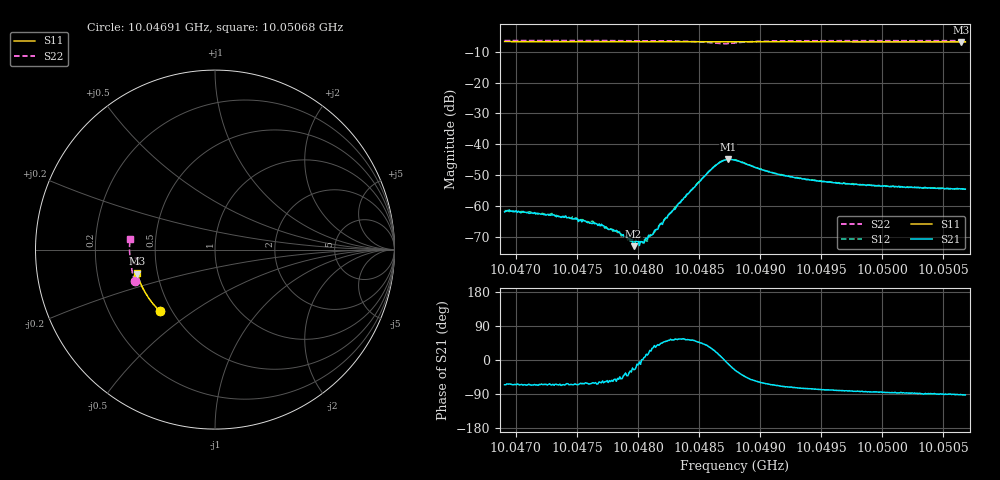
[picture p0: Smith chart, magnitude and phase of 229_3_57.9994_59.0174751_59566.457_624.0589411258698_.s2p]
#  HZ  S  RI  R  50.00
! Rohde & Schwarz Vector Network Analyzer
! Rohde-Schwarz,ZNB20-2Port,1311601062101988,3.16
! Created: UTC 3/21/2024, 1:00:35 AM
! freq[Hz]  re:S11  im:S11  re:S21  im:S21  re:S12  im:S12  re:S22  im:S22
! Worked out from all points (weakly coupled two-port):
!   401 points, 10.04691 GHz to 10.05068 GHz, reference 50 ohm
!   highest |S21| = -44.86 dB at 10.04874 GHz (marker M1); lowest = -72.9 dB at 10.04796 GHz (marker M2)
!   lowest |S11| = -6.9 dB at 10.05064 GHz (marker M3), VSWR 2.66, Z = 19.2 - j6.5 ohm
!   |S11| at or under -10 dB: nowhere
!   |S22| runs from -7.4 to -6.4 dB; largest |S21 - S12| = 0.00039
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1.0046908e10  -0.3075 -0.3429  0.000338 -0.000736  0.000412 -0.000751  -0.446 -0.176
1.0046955e10  -0.3098 -0.3407  0.00037 -0.000749  0.000406 -0.000726  -0.4471 -0.173
1.0047295e10  -0.3256 -0.3246  0.000295 -0.000659  0.000352 -0.000679  -0.4544 -0.1508
1.0047483e10  -0.3341 -0.3154  0.000285 -0.000568  0.000311 -0.00054  -0.4579 -0.1378
1.004754e10  -0.3365 -0.3126  0.000257 -0.000496  0.000296 -0.000533  -0.4588 -0.1341
1.0047634e10  -0.3406 -0.3079  0.00027 -0.00047  0.0003 -0.000477  -0.4604 -0.1275
1.00477e10  -0.3434 -0.3045  0.000255 -0.000444  0.000274 -0.000405  -0.4613 -0.1227
1.0047813e10  -0.3481 -0.2986  0.000252 -0.000304  0.000278 -0.000318  -0.4629 -0.1145
1.0047964e10  -0.3543 -0.2909  0.000204 -9.66e-05  0.00027 -0.000102  -0.4645 -0.103
1.004803e10  -0.3569 -0.2873  0.000265 3.59e-06  0.000269 3.84e-06  -0.465 -0.0975
1.0048058e10  -0.3582 -0.2858  0.000287 4.2e-05  0.000279 8.69e-05  -0.4652 -0.0952
1.0048171e10  -0.3625 -0.2799  0.000373 0.0003  0.000317 0.000362  -0.4653 -0.0857
1.0048417e10  -0.3718 -0.2666  0.000978 0.0013  0.00092 0.0014  -0.4601 -0.061
1.0048596e10  -0.378 -0.2566  0.00329 0.00205  0.00319 0.00223  -0.438 -0.0459
1.0048671e10  -0.3804 -0.2525  0.00503 0.00102  0.00501 0.00133  -0.4232 -0.0534
1.0048737e10  -0.3827 -0.2489  0.00563 -0.000959  0.00571 -0.000619  -0.4212 -0.0693
1.0048794e10  -0.3846 -0.2459  0.00496 -0.00251  0.00518 -0.0022  -0.4298 -0.0793
1.0049105e10  -0.3952 -0.2282  0.00142 -0.00316  0.0016 -0.00308  -0.4666 -0.0602
1.0049425e10  -0.4049 -0.2095  0.000626 -0.00255  0.000774 -0.00254  -0.4742 -0.0323
1.0050057e10  -0.4213 -0.1713  0.000131 -0.00208  0.000254 -0.00208  -0.4761 0.0141
1.0050642e10  -0.4333 -0.1348  -3.52e-05 -0.0019  6.44e-05 -0.00189  -0.4732 0.0539
1.0050679e10  -0.4342 -0.1324  -6.59e-05 -0.00188  6.34e-05 -0.00189  -0.4729 0.0566
